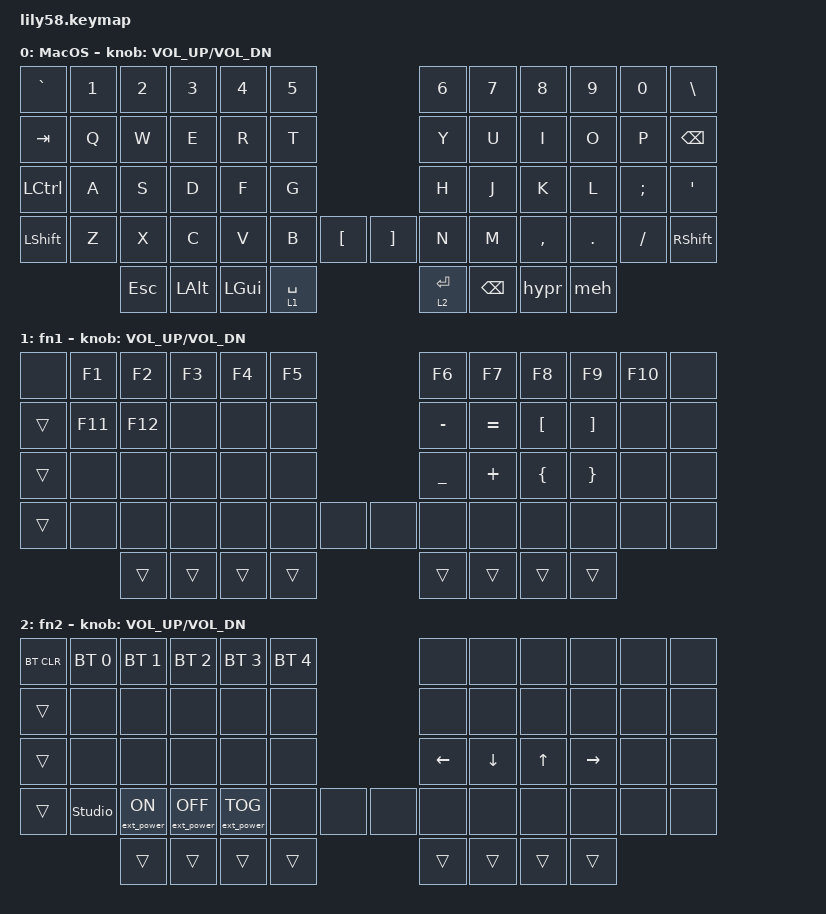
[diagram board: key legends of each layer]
/*
 * Copyright (c) 2020 The ZMK Contributors
 *
 * SPDX-License-Identifier: MIT
 */

#include <behaviors.dtsi>
#include <dt-bindings/zmk/bt.h>
#include <dt-bindings/zmk/ext_power.h>
#include <dt-bindings/zmk/keys.h>

// Overwrite defaults
&lt {
    // tapping-term-ms = <200>; // This is the value already set by default
    tapping-term-ms = <225>;
};

/ {
    macros {
/*
        spotlight: spotlight {
            label = "spotlight";
            compatible = "zmk,behavior-macro";
            #binding-cells = <0>;
            bindings = <&macro_press &kp LGUI>, <&macro_tap &kp SPACE>, <&macro_release &kp LGUI>;
        };
*/
        // Emoji
        mac_emoji: mac_emoji {
            label = "mac_emoji";
            compatible = "zmk,behaviour-macro";
            #binding-cells = <0>;
            bindings = <&macro_press &kp LGUI>, <&macro_press &kp LCTRL>, <&macro_tap &kp SPACE>, <&macro_release &kp LCTRL>, <&macro_release &kp LGUI>;
        };

        win_emoji: win_emoji {
            label = "win_emoji";
            compatible = "zmk,behavior-macro";
            #binding-cells = <0>;
            bindings = <&macro_press &kp LGUI>, <&macro_tap &kp DOT>, <&macro_release &kp LGUI>;
        };
    };

    behaviours {
/*
        td_mac: tap_dance_multi_mac {
            compatible = "zmk,behavior-tap-dance";
            label = "TAP_DANCE_MULTI_MAC";
            #binding-cells = <0>;
            tapping-term-ms = <200>;
            bindings = <&kp ESC>, <&spotlight>, <&mac_emoji>;
        };
*/
/*
        myspace: space_mod {
            compatible = "zmk,behavior-hold-tap";
            label = "SPACE_MOD";
            #binding-cells = <2>;
            flavor = "balanced";
            tapping-term-ms = <200>;
            quick-tap-ms = <125>;
            bindings = <&kp SPACE>, <&mo 1>;
        };

        myreturn: return_mod {
            compatible = "zmk,behavior-hold-tap";
            label = "RETURN_MOD";
            #binding-cells = <2>;
            flavor = "balanced";
            tapping-term-ms = <200>;
            quick-tap-ms = <125>;
            bindings = <&kp RETURN>, <&mo 2>;
        };
*/

        hypr: hyper_macro {
            compatible = "zmk,behavior-macro";
            label = "HYPER";
            #binding-cells = <0>;
            bindings = <&kp LCTL &kp LALT &kp LSHFT &kp LGUI>;
        };

        meh: meh_macro {
            compatible = "zmk,behavior-macro";
            label = "MEH";
            #binding-cells = <0>;
            bindings = <&kp LCTL &kp LALT &kp LSHFT>;
        };
    };

    keymap {
        compatible = "zmk,keymap";
 
        MacOS {
// TODO: update the brackets here with something more useful. 
// ------------------------------------------------------------------------------------------------------------
// | `     | 1 | 2 | 3 | 4 | 5 |              | 6 | 7 | 8 | 9 | 0 | \     |
// | TAB   | Q | W | E | R | T |              | Y | U | I | O | P | BACK  |
// | CTRL  | A | S | D | F | G |              | H | J | K | L | ; | '     |
// | SHIFT | Z | X | C | V | B | [ |      | ] | N | M | , | . | / | SHIFT |
//       | ESC | ALT | CMD | SPACE |      | ENTER | BSP | HYP | MEH |

            bindings = <
&kp GRAVE  &kp N1  &kp N2  &kp N3  &kp N4    &kp N5                           &kp N6  &kp N7    &kp N8     &kp N9   &kp N0    &kp BACKSLASH
&kp TAB    &kp Q   &kp W   &kp E   &kp R     &kp T                            &kp Y   &kp U     &kp I      &kp O    &kp P     &kp BSPC
&kp LCTRL  &kp A   &kp S   &kp D   &kp F     &kp G                            &kp H   &kp J     &kp K      &kp L    &kp SEMI  &kp SQT
&kp LSHFT  &kp Z   &kp X   &kp C   &kp V     &kp B   &kp LBKT       &kp RBKT  &kp N   &kp M     &kp COMMA  &kp DOT  &kp FSLH  &kp RSHFT
                    &kp ESC  &kp  LALT  &kp LGUI  &lt 1 SPACE       &lt 2 RETURN  &kp BSPC  &hypr  &meh
            >;
            sensor-bindings = <&inc_dec_kp C_VOL_UP C_VOL_DN>;
        };

        fn1 {
// ------------------------------------------------------------------------------------------------------------
// |    | F1  | F2  | F3 | F4 | F5 |                   | F6 | F7 | F8 | F9 | F10 |    |
// |    | F11 | F12 |    |    |    |                   | -  | =  | [  | ]  |     |    |
// |    |     |     |    |    |    |                   | _  | +  | {  | }  |     |    |
// |    |     |     |    |    |    |    |         |    |    |    |    |    |     |
//                      |     |    |    |         |    |    |    |    |    |

            bindings = <
&none   &kp F1   &kp F2   &kp F3  &kp F4  &kp F5                    &kp F6     &kp F7     &kp F8    &kp F9    &kp F10  &none
&trans  &kp F11  &kp F12  &none   &none   &none                     &kp MINUS  &kp EQUAL  &kp LBKT  &kp RBKT  &none    &none   
&trans  &none    &none    &none   &none   &none                     &kp UNDER  &kp PLUS   &kp LBRC  &kp RBRC  &none    &none
&trans  &none    &none    &none   &none   &none  &none      &none   &none      &none      &none     &none     &none    &none
                        &trans  &trans  &trans  &trans      &trans  &trans  &trans  &trans
            >;
            sensor-bindings = <&inc_dec_kp C_VOL_UP C_VOL_DN>;
        };

        fn2 {
// EP: OLED Display 
// ------------------------------------------------------------------------------------------------------------
// | BTCLR | B1      | B2       |  B3      |  B4      |  B5 |                   |     |     |    |     |    |    |
// |       |         |          |          |          |     |                   |     |     |    |     |    |    |
// |       |         |          |          |          |     |                   | LFT | DWN | UP | RHT |    |    |
// |       | ZMKST   |  EP ON   |  EP OFF  |  EP TG   |     |     |        |  |       |     |     |    |     |    |    |
//                     |      |      |      |        |  |       |      |       |       |

            bindings = <
&bt BT_CLR  &bt BT_SEL 0    &bt BT_SEL 1      &bt BT_SEL 2       &bt BT_SEL 3       &bt BT_SEL 4                    &none     &none     &none   &none      &none  &none
&trans      &none           &none             &none              &none              &none                           &none     &none     &none   &none      &none  &none
&trans      &none           &none             &none              &none              &none                           &kp LEFT  &kp DOWN  &kp UP  &kp RIGHT  &none  &none
&trans      &studio_unlock  &ext_power EP_ON  &ext_power EP_OFF  &ext_power EP_TOG  &none         &none     &none   &none     &none     &none   &none      &none  &none
                                                           &trans  &trans  &trans  &trans                   &trans  &trans  &trans  &trans
            >;
            sensor-bindings = <&inc_dec_kp C_VOL_UP C_VOL_DN>;
        };
    };
};
